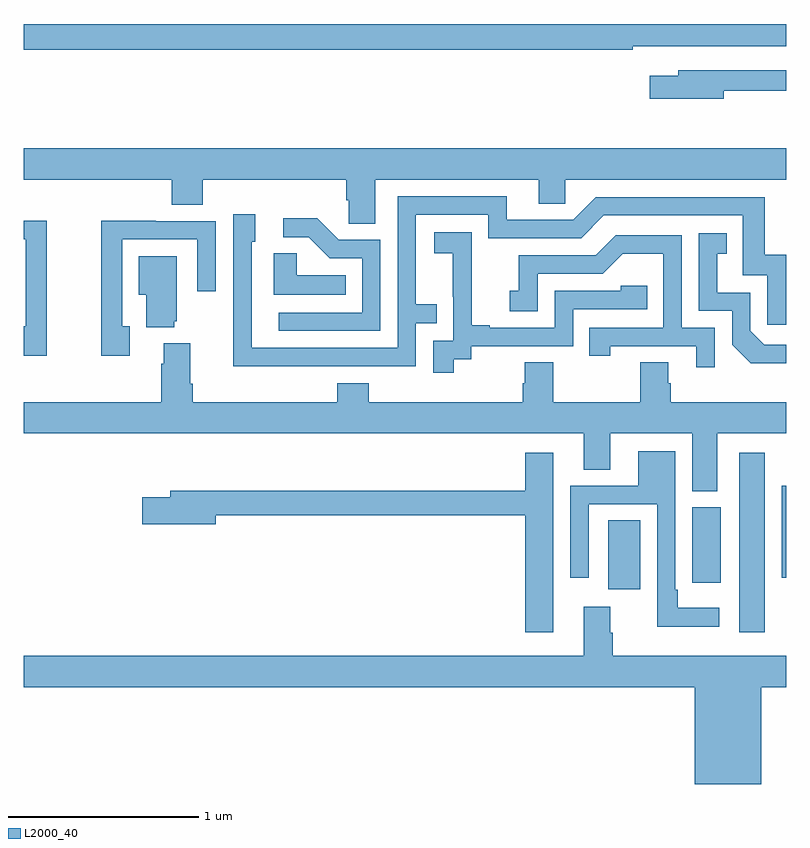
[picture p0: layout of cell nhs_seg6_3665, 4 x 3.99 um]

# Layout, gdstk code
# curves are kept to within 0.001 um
import gdstk
lib = gdstk.Library(unit=1e-6, precision=1e-09)
def R(c, l, rs):  # rectangles x0, y0, x1, y1
    for r in rs: c.add(gdstk.rectangle(r[:2], r[2:], *l))
def P(c, l, *ps):  # polygons
    for p in ps: c.add(gdstk.Polygon(p, *l))
L2000_40 = (2000, 40)

nhs_seg6_3665 = lib.new_cell('nhs_seg6_3665')
R(nhs_seg6_3665, L2000_40, [(328.754,942.297,328.888,943.237), (328.067,942.522,328.234,942.884), (328.508,942.555,328.657,942.951), (328.977,942.582,329,943.065)])
P(nhs_seg6_3665, L2000_40, [(328.196,945.372),(329,945.372),(329,945.488),(325,945.488),(325,945.352),(328.196,945.352)],
  [(328.672,945.138),(329,945.138),(329,945.246),(328.433,945.246),(328.433,945.217),(328.284,945.217),(328.284,945.095),(328.672,945.095)],
  [(326.845,944.672),(327.701,944.672),(327.701,944.545),(327.84,944.545),(327.84,944.672),(329,944.672),(329,944.836),(325,944.836),(325,944.672),(325.775,944.672),(325.775,944.539),(325.94,944.539),(325.94,944.672),(326.693,944.672),(326.693,944.563),(326.706,944.563),(326.706,944.44),(326.845,944.44)],
  [(326.561,943.692),(327.057,943.692),(327.057,943.917),(327.167,943.917),(327.167,944.018),(327.057,944.018),(327.057,944.487),(327.438,944.487),(327.438,944.364),(327.924,944.364),(328.044,944.484),(328.773,944.484),(328.773,944.169),(328.902,944.169),(328.902,943.911),(329,943.911),(329,944.278),(328.889,944.278),(328.889,944.58),(328.002,944.58),(327.882,944.46),(327.535,944.46),(327.535,944.583),(326.961,944.583),(326.961,943.788),(326.196,943.788),(326.196,944.346),(326.215,944.346),(326.215,944.491),(326.1,944.491),(326.1,943.997),(326.098,943.997),(326.098,943.691)],
  [(326.871,944.355),(326.652,944.355),(326.539,944.468),(326.361,944.468),(326.361,944.37),(326.495,944.37),(326.606,944.259),(326.775,944.259),(326.775,943.974),(326.337,943.974),(326.337,943.878),(326.871,943.878)],
  [(325.555,943.902),(325.515,943.902),(325.515,944.358),(325.911,944.358),(325.911,944.085),(326.007,944.085),(326.007,944.454),(325.691,944.454),(325.691,944.456),(325.407,944.456),(325.407,943.746),(325.555,943.746)],
  [(325.12,944.456),(325,944.456),(325,944.358),(325.011,944.358),(325.011,943.902),(325,943.902),(325,943.746),(325.12,943.746)],
  [(327.256,943.729),(327.348,943.729),(327.348,943.797),(327.882,943.797),(327.882,943.992),(328.271,943.992),(328.271,944.115),(328.131,944.115),(328.131,944.088),(327.786,944.088),(327.786,943.893),(327.445,943.893),(327.445,943.906),(327.35,943.906),(327.35,944.189),(327.351,944.189),(327.351,944.395),(327.153,944.395),(327.153,944.285),(327.251,944.285),(327.251,944.057),(327.252,944.057),(327.252,943.827),(327.147,943.827),(327.147,943.659),(327.256,943.659)],
  [(329,943.806),(328.884,943.806),(328.812,943.878),(328.812,944.079),(328.639,944.079),(328.639,944.283),(328.688,944.283),(328.688,944.389),(328.542,944.389),(328.542,943.983),(328.716,943.983),(328.716,943.806),(328.814,943.709),(329,943.709)],
  [(328.626,943.893),(328.452,943.893),(328.452,944.379),(328.106,944.379),(328.001,944.274),(327.598,944.274),(327.598,944.089),(327.549,944.089),(327.549,943.98),(327.696,943.98),(327.696,944.178),(328.038,944.178),(328.142,944.282),(328.356,944.282),(328.356,943.893),(327.967,943.893),(327.967,943.746),(328.078,943.746),(328.078,943.797),(328.529,943.797),(328.529,943.686),(328.626,943.686)],
  [(326.69,944.17),(326.433,944.17),(326.433,944.285),(326.312,944.285),(326.312,944.066),(326.69,944.066)],
  [(325.79,943.929),(325.801,943.929),(325.801,944.269),(325.604,944.269),(325.604,944.066),(325.643,944.066),(325.643,943.898),(325.79,943.898)],
  [(327.938,943.15),(328.078,943.15),(328.078,943.34),(328.508,943.34),(328.508,943.036),(328.639,943.036),(328.639,943.34),(329,943.34),(329,943.504),(328.394,943.504),(328.394,943.602),(328.381,943.602),(328.381,943.712),(328.234,943.712),(328.234,943.504),(327.777,943.504),(327.777,943.712),(327.629,943.712),(327.629,943.602),(327.617,943.602),(327.617,943.504),(326.81,943.504),(326.81,943.603),(326.645,943.603),(326.645,943.504),(325.886,943.504),(325.886,943.6),(325.873,943.6),(325.873,943.813),(325.733,943.813),(325.733,943.706),(325.721,943.706),(325.721,943.504),(325,943.504),(325,943.34),(327.938,943.34)],
  [(328.648,942.424),(328.432,942.424),(328.432,942.52),(328.419,942.52),(328.419,943.246),(328.223,943.246),(328.223,943.065),(327.867,943.065),(327.867,942.582),(327.963,942.582),(327.963,942.969),(328.323,942.969),(328.323,942.326),(328.648,942.326)],
  [(327.778,943.237),(327.632,943.237),(327.632,943.039),(325.769,943.039),(325.769,943.005),(325.62,943.005),(325.62,942.863),(326.008,942.863),(326.008,942.91),(327.632,942.91),(327.632,942.297),(327.778,942.297)],
  [(328.87,942.008),(329,942.008),(329,942.172),(328.091,942.172),(328.091,942.293),(328.078,942.293),(328.078,942.43),(327.938,942.43),(327.938,942.172),(325,942.172),(325,942.008),(328.52,942.008),(328.52,941.5),(328.87,941.5)])

lib.write_gds('nhs_seg6_3665.gds')
